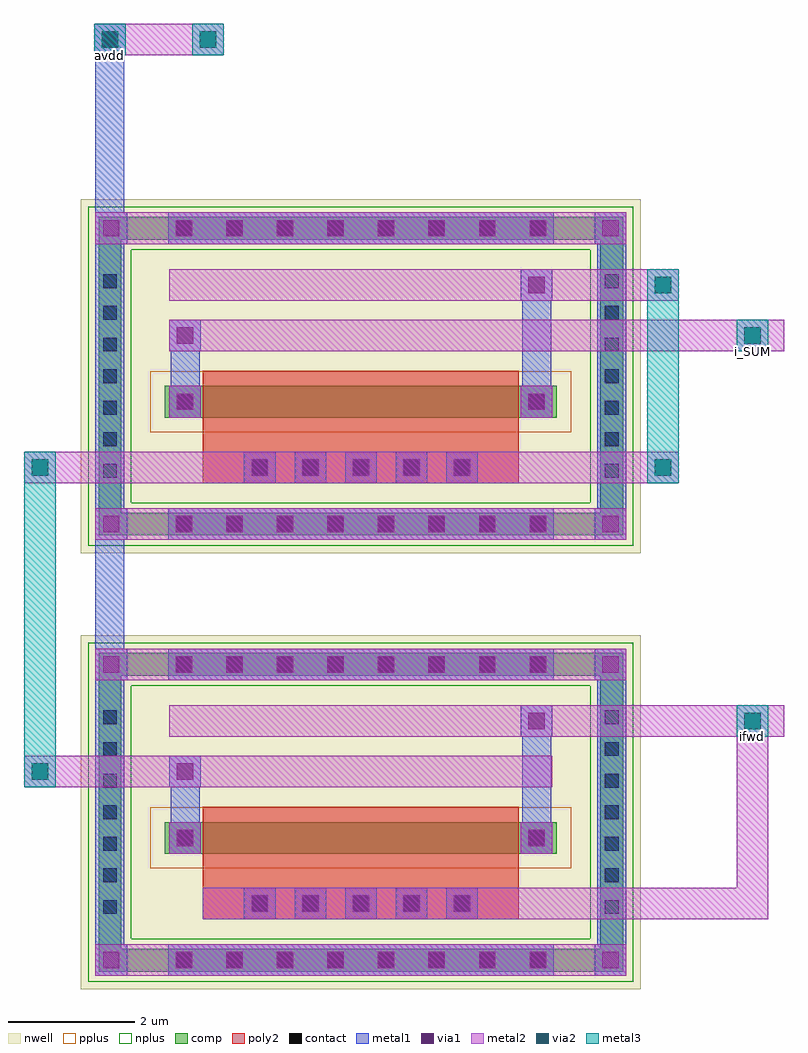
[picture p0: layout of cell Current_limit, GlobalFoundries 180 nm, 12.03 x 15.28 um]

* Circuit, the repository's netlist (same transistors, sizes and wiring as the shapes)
* NGSPICE file created from Current_limit.ext - technology: gf180mcuD

.subckt XM1 a_500_n131# a_n500_n339# w_n886_n560# a_n620_n131#
X0 a_500_n131# a_n500_n339# a_n620_n131# w_n886_n560# pfet_03v3 ad=0.3p pd=2.2u as=0.3p ps=2.2u w=0.5u l=5u
.ends

.subckt XM0 a_500_n131# a_n500_n339# w_n886_n560# a_n620_n131#
X0 a_500_n131# a_n500_n339# a_n620_n131# w_n886_n560# pfet_03v3 ad=0.3p pd=2.2u as=0.3p ps=2.2u w=0.5u l=5u
.ends

.subckt Current_limit i_SUM ifwd avdd
XXM1_0 ifwd ifwd avdd XM0_0/a_500_n131# XM1
XXM0_0 XM0_0/a_500_n131# XM0_0/a_500_n131# avdd i_SUM XM0
.ends

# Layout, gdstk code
import gdstk
lib = gdstk.Library(unit=1e-6, precision=5e-09)
def R(c, l, rs):  # rectangles x0, y0, x1, y1
    for r in rs: c.add(gdstk.rectangle(r[:2], r[2:], *l))
def A(c, l, x, y, w, h, nx, ny, dx, dy):  # array of equal rectangles
    R(c, l, [(x+i*dx, y+j*dy, x+i*dx+w, y+j*dy+h) for i in range(nx) for j in range(ny)])
def P(c, l, *ps):  # polygons
    for p in ps: c.add(gdstk.Polygon(p, *l))
nwell = (21, 0)
comp = (22, 0)
poly2 = (30, 0)
pplus = (31, 0)
nplus = (32, 0)
contact = (33, 0)
metal1 = (34, 0)
via1 = (35, 0)
metal2 = (36, 0)
via2 = (38, 0)
metal3 = (42, 0)

c_m0 = lib.new_cell('M0')
R(c_m0, nwell, [(-4.43,-2.8,4.43,2.8), (-4.27,-2.64,4.27,2.64)])
A(c_m0, comp, -2.98, -2.52, 0.36, 0.36, 8, 2, 0.8, 4.68)
A(c_m0, comp, -4.15, -1.68, 0.36, 0.36, 1, 7, 0, 0.5)
A(c_m0, comp, 3.79, -1.68, 0.36, 0.36, 1, 7, 0, 0.5)
R(c_m0, comp, [(-2.98,-2.52,2.98,-2.16), (-4.15,-1.68,-3.79,1.68), (3.79,-1.68,4.15,1.68), (-3.1,-0.655,3.1,-0.155), (-2.98,2.16,2.98,2.52)])
P(c_m0, comp, [(4.15,2.52),(-4.15,2.52),(-4.15,-2.16),(-3.79,-2.16),(-3.79,2.16),(3.79,2.16),(3.79,-2.16),(-3.79,-2.16),(-4.15,-2.16),(-4.15,-2.52),(4.15,-2.52)])
A(c_m0, poly2, -1.78, -1.625, 0.36, 0.36, 5, 1, 0.8, 0)
R(c_m0, poly2, [(-2.5,-1.695,2.5,-1.195), (-2.5,-1.195,2.5,-0.895), (-2.5,-0.895,2.5,0.085)])
R(c_m0, pplus, [(-3.33,-0.885,3.33,0.075)])
P(c_m0, nplus, [(4.31,2.68),(-4.31,2.68),(-4.31,-2),(-3.63,-2),(-3.63,2),(3.63,2),(3.63,-2),(-3.63,-2),(-4.31,-2),(-4.31,-2.68),(4.31,-2.68)])
A(c_m0, contact, -2.91, -2.45, 0.22, 0.22, 8, 2, 0.8, 4.68)
A(c_m0, contact, -4.08, -1.61, 0.22, 0.22, 1, 7, 0, 0.5)
A(c_m0, contact, 3.86, -1.61, 0.22, 0.22, 1, 7, 0, 0.5)
A(c_m0, contact, -1.71, -1.555, 0.22, 0.22, 5, 1, 0.8, 0)
R(c_m0, contact, [(-2.89,-0.515,-2.67,-0.295), (2.67,-0.515,2.89,-0.295)])
A(c_m0, metal1, -3.05, -2.59, 0.5, 0.5, 8, 2, 0.8, 4.68)
A(c_m0, metal1, -4.2, -1.73, 0.46, 0.46, 1, 7, 0, 0.5)
A(c_m0, metal1, 3.74, -1.73, 0.46, 0.46, 1, 7, 0, 0.5)
A(c_m0, metal1, -1.85, -1.695, 0.5, 0.5, 5, 1, 0.8, 0)
R(c_m0, metal1, [(-4.2,-2.59,-3.7,-2.09), (-4.2,-2.59,-3.7,-2.09), (-4.2,-2.59,-3.74,-2.16), (-3.05,-2.59,3.05,-2.09), (3.7,-2.59,4.2,-2.09), (3.7,-2.59,4.2,-2.09), (3.74,-2.59,4.2,-2.16), (-4.2,-2.16,-3.74,2.16), (3.74,-2.16,4.2,2.16), (-3.03,-0.655,-2.53,-0.155), (-3.03,-0.655,-2.53,-0.155), (-3.01,-0.655,-2.55,-0.155), (2.53,-0.655,3.03,-0.155), (2.53,-0.655,3.03,-0.155), (2.55,-0.655,3.01,-0.155), (-3.01,-0.635,-2.55,-0.175), (2.55,-0.635,3.01,-0.175), (-3.01,-0.155,-2.55,0.895), (2.55,-0.155,3.01,1.695), (-3.03,0.395,-2.53,0.895), (2.53,1.195,3.03,1.695), (-4.2,2.09,-3.7,2.59), (-4.2,2.09,-3.7,2.59), (-3.05,2.09,3.05,2.59), (3.7,2.09,4.2,2.59), (3.7,2.09,4.2,2.59), (-4.2,2.16,-3.74,2.59), (3.74,2.16,4.2,2.59)])
A(c_m0, via1, -2.93, -2.47, 0.26, 0.26, 8, 2, 0.8, 4.68)
A(c_m0, via1, -1.73, -1.575, 0.26, 0.26, 5, 1, 0.8, 0)
R(c_m0, via1, [(-4.08,-2.47,-3.82,-2.21), (3.82,-2.47,4.08,-2.21), (-2.91,-0.535,-2.65,-0.275), (2.65,-0.535,2.91,-0.275), (-2.91,0.515,-2.65,0.775), (2.65,1.315,2.91,1.575), (-4.08,2.21,-3.82,2.47), (3.82,2.21,4.08,2.47)])
A(c_m0, metal2, -3.05, -2.59, 0.5, 0.5, 8, 2, 0.8, 4.68)
A(c_m0, metal2, -1.85, -1.695, 0.5, 0.5, 5, 1, 0.8, 0)
R(c_m0, metal2, [(-4.2,-2.59,-3.7,-2.09), (-4.2,-2.59,-3.7,-2.09), (-4.2,-2.59,-3.79,-2.09), (-3.79,-2.59,3.79,-2.09), (3.7,-2.59,4.2,-2.09), (3.7,-2.59,4.2,-2.09), (3.79,-2.59,4.2,-2.09), (-2.5,-1.695,2.5,-1.195), (-3.03,-0.655,-2.53,-0.155), (-3.03,-0.655,-2.53,-0.155), (2.53,-0.655,3.03,-0.155), (2.53,-0.655,3.03,-0.155), (-3.03,0.395,-2.53,0.895), (-3.03,0.395,3.03,0.895), (-3.03,1.195,3.03,1.695), (2.53,1.195,3.03,1.695), (-4.2,2.09,-3.7,2.59), (-4.2,2.09,-3.7,2.59), (-4.2,2.09,-3.79,2.59), (-3.79,2.09,3.79,2.59), (3.7,2.09,4.2,2.59), (3.7,2.09,4.2,2.59), (3.79,2.09,4.2,2.59)])

c_m1 = lib.new_cell('M1')
R(c_m1, nwell, [(-4.43,-2.8,4.43,2.8), (-4.27,-2.64,4.27,2.64)])
A(c_m1, comp, -2.98, -2.52, 0.36, 0.36, 8, 2, 0.8, 4.68)
A(c_m1, comp, -4.15, -1.68, 0.36, 0.36, 1, 7, 0, 0.5)
A(c_m1, comp, 3.79, -1.68, 0.36, 0.36, 1, 7, 0, 0.5)
R(c_m1, comp, [(-2.98,-2.52,2.98,-2.16), (-4.15,-1.68,-3.79,1.68), (3.79,-1.68,4.15,1.68), (-3.1,-0.655,3.1,-0.155), (-2.98,2.16,2.98,2.52)])
P(c_m1, comp, [(4.15,2.52),(-4.15,2.52),(-4.15,-2.16),(-3.79,-2.16),(-3.79,2.16),(3.79,2.16),(3.79,-2.16),(-3.79,-2.16),(-4.15,-2.16),(-4.15,-2.52),(4.15,-2.52)])
A(c_m1, poly2, -1.78, -1.625, 0.36, 0.36, 5, 1, 0.8, 0)
R(c_m1, poly2, [(-2.5,-1.695,2.5,-1.195), (-2.5,-1.195,2.5,-0.895), (-2.5,-0.895,2.5,0.085)])
R(c_m1, pplus, [(-3.33,-0.885,3.33,0.075)])
P(c_m1, nplus, [(4.31,2.68),(-4.31,2.68),(-4.31,-2),(-3.63,-2),(-3.63,2),(3.63,2),(3.63,-2),(-3.63,-2),(-4.31,-2),(-4.31,-2.68),(4.31,-2.68)])
A(c_m1, contact, -2.91, -2.45, 0.22, 0.22, 8, 2, 0.8, 4.68)
A(c_m1, contact, -4.08, -1.61, 0.22, 0.22, 1, 7, 0, 0.5)
A(c_m1, contact, 3.86, -1.61, 0.22, 0.22, 1, 7, 0, 0.5)
A(c_m1, contact, -1.71, -1.555, 0.22, 0.22, 5, 1, 0.8, 0)
R(c_m1, contact, [(-2.89,-0.515,-2.67,-0.295), (2.67,-0.515,2.89,-0.295)])
A(c_m1, metal1, -3.05, -2.59, 0.5, 0.5, 8, 2, 0.8, 4.68)
A(c_m1, metal1, -4.2, -1.73, 0.46, 0.46, 1, 7, 0, 0.5)
A(c_m1, metal1, 3.74, -1.73, 0.46, 0.46, 1, 7, 0, 0.5)
A(c_m1, metal1, -1.85, -1.695, 0.5, 0.5, 5, 1, 0.8, 0)
R(c_m1, metal1, [(-4.2,-2.59,-3.7,-2.09), (-4.2,-2.59,-3.7,-2.09), (-4.2,-2.59,-3.74,-2.16), (-3.05,-2.59,3.05,-2.09), (3.7,-2.59,4.2,-2.09), (3.7,-2.59,4.2,-2.09), (3.74,-2.59,4.2,-2.16), (-4.2,-2.16,-3.74,2.16), (3.74,-2.16,4.2,2.16), (-3.03,-0.655,-2.53,-0.155), (-3.03,-0.655,-2.53,-0.155), (-3.01,-0.655,-2.55,-0.155), (2.53,-0.655,3.03,-0.155), (2.53,-0.655,3.03,-0.155), (2.55,-0.655,3.01,-0.155), (-3.01,-0.635,-2.55,-0.175), (2.55,-0.635,3.01,-0.175), (-3.01,-0.155,-2.55,0.895), (2.55,-0.155,3.01,1.695), (-3.03,0.395,-2.53,0.895), (2.53,1.195,3.03,1.695), (-4.2,2.09,-3.7,2.59), (-4.2,2.09,-3.7,2.59), (-3.05,2.09,3.05,2.59), (3.7,2.09,4.2,2.59), (3.7,2.09,4.2,2.59), (-4.2,2.16,-3.74,2.59), (3.74,2.16,4.2,2.59)])
A(c_m1, via1, -2.93, -2.47, 0.26, 0.26, 8, 2, 0.8, 4.68)
A(c_m1, via1, -1.73, -1.575, 0.26, 0.26, 5, 1, 0.8, 0)
R(c_m1, via1, [(-4.08,-2.47,-3.82,-2.21), (3.82,-2.47,4.08,-2.21), (-2.91,-0.535,-2.65,-0.275), (2.65,-0.535,2.91,-0.275), (-2.91,0.515,-2.65,0.775), (2.65,1.315,2.91,1.575), (-4.08,2.21,-3.82,2.47), (3.82,2.21,4.08,2.47)])
A(c_m1, metal2, -3.05, -2.59, 0.5, 0.5, 8, 2, 0.8, 4.68)
A(c_m1, metal2, -1.85, -1.695, 0.5, 0.5, 5, 1, 0.8, 0)
R(c_m1, metal2, [(-4.2,-2.59,-3.7,-2.09), (-4.2,-2.59,-3.7,-2.09), (-4.2,-2.59,-3.79,-2.09), (-3.79,-2.59,3.79,-2.09), (3.7,-2.59,4.2,-2.09), (3.7,-2.59,4.2,-2.09), (3.79,-2.59,4.2,-2.09), (-2.5,-1.695,2.5,-1.195), (-3.03,-0.655,-2.53,-0.155), (-3.03,-0.655,-2.53,-0.155), (2.53,-0.655,3.03,-0.155), (2.53,-0.655,3.03,-0.155), (-3.03,0.395,-2.53,0.895), (-3.03,0.395,3.03,0.895), (-3.03,1.195,3.03,1.695), (2.53,1.195,3.03,1.695), (-4.2,2.09,-3.7,2.59), (-4.2,2.09,-3.7,2.59), (-4.2,2.09,-3.79,2.59), (-3.79,2.09,3.79,2.59), (3.7,2.09,4.2,2.59), (3.7,2.09,4.2,2.59), (3.79,2.09,4.2,2.59)])

via_stack_22f48a44 = lib.new_cell('via_stack_22f48a44')
R(via_stack_22f48a44, metal2, [(-0.25,-0.25,0.25,0.25)])
R(via_stack_22f48a44, via2, [(-0.13,-0.13,0.13,0.13)])
R(via_stack_22f48a44, metal3, [(-0.25,-0.25,0.25,0.25)])

compass_2d3cd8bd_29 = lib.new_cell('compass_2d3cd8bd$29')
R(compass_2d3cd8bd_29, metal2, [(-0.25,-0.25,0.25,0.25)])

rectangle_2d3cd8bd = lib.new_cell('rectangle_2d3cd8bd')
rectangle_2d3cd8bd.add(gdstk.Reference(compass_2d3cd8bd_29, (0.25,0.25)))

compass_2d3cd8bd_30 = lib.new_cell('compass_2d3cd8bd$30')
R(compass_2d3cd8bd_30, metal2, [(-0.25,-0.25,0.25,0.25)])

rectangle_2d3cd8bd_1 = lib.new_cell('rectangle_2d3cd8bd$1')
rectangle_2d3cd8bd_1.add(gdstk.Reference(compass_2d3cd8bd_30, (0.25,0.25)))

compass_2d3cd8bd_31 = lib.new_cell('compass_2d3cd8bd$31')
R(compass_2d3cd8bd_31, metal2, [(-0.25,-0.25,0.25,0.25)])

rectangle_2d3cd8bd_2 = lib.new_cell('rectangle_2d3cd8bd$2')
rectangle_2d3cd8bd_2.add(gdstk.Reference(compass_2d3cd8bd_31, (0.25,0.25)))

straight_route_3aeded5d = lib.new_cell('straight_route_3aeded5d')
R(straight_route_3aeded5d, metal2, [(3.03,0.395,6.195,0.895)])

straight_route_ecf1fe62 = lib.new_cell('straight_route_ecf1fe62')
R(straight_route_ecf1fe62, metal2, [(3.03,-5.705,6.195,-5.205)])

straight_route_27de76d1 = lib.new_cell('straight_route_27de76d1')
R(straight_route_27de76d1, metal1, [(-4.2,2.16,-3.74,5.075), (-4.22,5.075,-3.72,5.575)])
R(straight_route_27de76d1, via1, [(-4.1,5.195,-3.84,5.455)])
R(straight_route_27de76d1, metal2, [(-4.22,5.075,-3.72,5.575)])

straight_route_fae26f94 = lib.new_cell('straight_route_fae26f94')
R(straight_route_fae26f94, metal2, [(-3.72,5.075,-2.67,5.575)])

straight_route_b31679a7 = lib.new_cell('straight_route_b31679a7')
R(straight_route_b31679a7, metal1, [(-4.2,-4.74,-3.74,-2.16)])

c_route_7b813cc3 = lib.new_cell('c_route_7b813cc3')
R(c_route_7b813cc3, metal2, [(-5.33,-6.505,-3.03,-6.005), (-5.33,-6.505,-4.83,-6.005), (-5.33,-1.695,-4.83,-1.195), (-5.33,-1.695,-2.5,-1.195)])
R(c_route_7b813cc3, via2, [(-5.21,-6.385,-4.95,-6.125), (-5.21,-1.575,-4.95,-1.315)])
R(c_route_7b813cc3, metal3, [(-5.33,-6.505,-4.83,-6.005), (-5.33,-6.505,-4.83,-6.005), (-5.33,-6.505,-4.83,-1.195), (-5.33,-1.695,-4.83,-1.195), (-5.33,-1.695,-4.83,-1.195)])
P(c_route_7b813cc3, metal3, [(-4.83,-6.505),(-4.83,-6.505),(-4.83,-6.005),(-4.83,-6.005)],
  [(-4.83,-1.695),(-4.83,-1.695),(-4.83,-1.195),(-4.83,-1.195)])

c_route_37dfc8e9 = lib.new_cell('c_route_37dfc8e9')
R(c_route_37dfc8e9, metal2, [(2.5,-1.695,5.03,-1.195), (4.53,-1.695,5.03,-1.195), (3.03,1.195,5.03,1.695), (4.53,1.195,5.03,1.695)])
R(c_route_37dfc8e9, via2, [(4.65,-1.575,4.91,-1.315), (4.65,1.315,4.91,1.575)])
R(c_route_37dfc8e9, metal3, [(4.53,-1.695,5.03,-1.195), (4.53,-1.695,5.03,-1.195), (4.53,-1.695,5.03,1.695), (4.53,1.195,5.03,1.695), (4.53,1.195,5.03,1.695)])
P(c_route_37dfc8e9, metal3, [(5.03,-1.695),(5.03,-1.695),(5.03,-1.195),(5.03,-1.195)],
  [(5.03,1.195),(5.03,1.195),(5.03,1.695),(5.03,1.695)])

l_route_8a9085e1 = lib.new_cell('L_route_8a9085e1')
R(l_route_8a9085e1, metal2, [(2.5,-8.595,6.445,-8.095), (5.945,-8.595,6.445,-5.705)])

current_limit = lib.new_cell('Current_limit')
current_limit.add(gdstk.Reference(c_m0, (0,0)))
current_limit.add(gdstk.Reference(c_m1, (0,-6.9)))
current_limit.add(gdstk.Reference(via_stack_22f48a44, (6.195,0.645)))
current_limit.add(gdstk.Reference(via_stack_22f48a44, (-3.97,5.325)))
current_limit.add(gdstk.Reference(via_stack_22f48a44, (-2.42,5.325)))
current_limit.add(gdstk.Reference(via_stack_22f48a44, (6.195,-5.455)))
current_limit.add(gdstk.Reference(rectangle_2d3cd8bd, (-3.97,5.075)))
current_limit.add(gdstk.Reference(rectangle_2d3cd8bd_1, (6.195,0.395)))
current_limit.add(gdstk.Reference(rectangle_2d3cd8bd_2, (6.195,-5.705)))
current_limit.add(gdstk.Reference(straight_route_3aeded5d, (0,0)))
current_limit.add(gdstk.Reference(straight_route_ecf1fe62, (0,0)))
current_limit.add(gdstk.Reference(straight_route_27de76d1, (0,0)))
current_limit.add(gdstk.Reference(straight_route_fae26f94, (0,0)))
current_limit.add(gdstk.Reference(straight_route_b31679a7, (0,0)))
current_limit.add(gdstk.Reference(c_route_7b813cc3, (0,0)))
current_limit.add(gdstk.Reference(c_route_37dfc8e9, (0,0)))
current_limit.add(gdstk.Reference(l_route_8a9085e1, (0,0)))
current_limit.add(gdstk.Label('avdd', (-3.97,5.075), layer=36, texttype=10))
current_limit.add(gdstk.Label('i_SUM', (6.195,0.395), layer=36, texttype=10))
current_limit.add(gdstk.Label('ifwd', (6.195,-5.705), layer=36, texttype=10))

lib.write_gds('Current_limit.gds')
